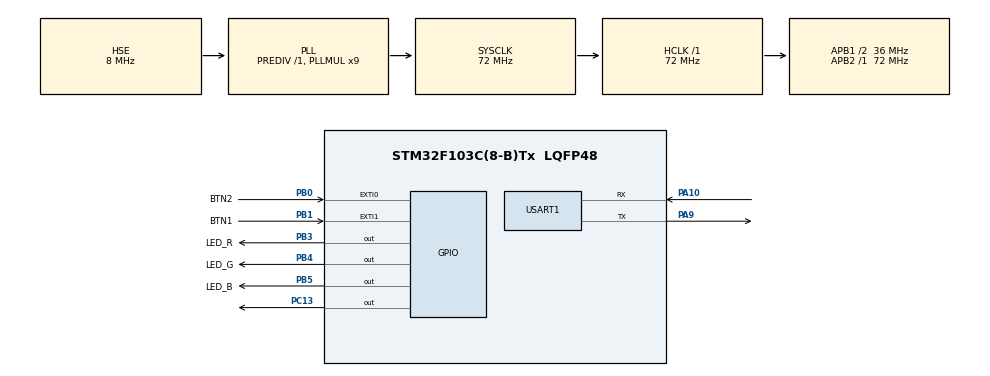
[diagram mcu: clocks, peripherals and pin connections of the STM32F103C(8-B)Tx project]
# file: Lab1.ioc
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Mcu.Family=STM32F1
Mcu.Name=STM32F103C(8-B)Tx
Mcu.Package=LQFP48
NVIC.EXTI0_IRQn=true\:1\:0\:true\:false\:true\:true\:true\:true
NVIC.EXTI1_IRQn=true\:1\:0\:true\:false\:true\:true\:true\:true
NVIC.PriorityGroup=NVIC_PRIORITYGROUP_4
NVIC.TIM3_IRQn=true\:0\:0\:true\:false\:true\:true\:true\:true
NVIC.TIM4_IRQn=true\:0\:0\:true\:false\:true\:true\:true\:true
NVIC.USART1_IRQn=true\:0\:0\:false\:false\:true\:true\:true\:true
PA10.Mode=Asynchronous
PA10.Signal=USART1_RX
PA13.Mode=Serial_Wire
PA13.Signal=SYS_JTMS-SWDIO
PA14.Mode=Serial_Wire
PA14.Signal=SYS_JTCK-SWCLK
PA9.Mode=Asynchronous
PA9.Signal=USART1_TX
PB0.GPIO_Label=BTN2
PB0.GPIO_ModeDefaultEXTI=GPIO_MODE_IT_RISING_FALLING
PB0.Signal=GPXTI0
PB1.GPIO_Label=BTN1
PB1.GPIO_ModeDefaultEXTI=GPIO_MODE_IT_RISING_FALLING
PB1.Signal=GPXTI1
PB3.GPIO_Label=LED_R
PB3.Signal=GPIO_Output
PB4.GPIO_Label=LED_G
PB4.Signal=GPIO_Output
PB5.GPIO_Label=LED_B
PB5.Signal=GPIO_Output
PC13-TAMPER-RTC.Signal=GPIO_Output
PD0-OSC_IN.Mode=HSE-External-Oscillator
PD0-OSC_IN.Signal=RCC_OSC_IN
PD1-OSC_OUT.Mode=HSE-External-Oscillator
PD1-OSC_OUT.Signal=RCC_OSC_OUT
ProjectManager.HeapSize=0x200
ProjectManager.StackSize=0x400
ProjectManager.TargetToolchain=STM32CubeIDE
RCC.AHBFreq_Value=72000000
RCC.APB1CLKDivider=RCC_HCLK_DIV2
RCC.APB1Freq_Value=36000000
RCC.APB1TimFreq_Value=72000000
RCC.APB2Freq_Value=72000000
RCC.APB2TimFreq_Value=72000000
RCC.HCLKFreq_Value=72000000
RCC.PLLMUL=RCC_PLL_MUL9
RCC.PLLSourceVirtual=RCC_PLLSOURCE_HSE
RCC.SYSCLKFreq_VALUE=72000000
RCC.SYSCLKSource=RCC_SYSCLKSOURCE_PLLCLK
RCC.USBFreq_Value=72000000
TIM3.Period=1000-1
TIM3.Prescaler=71
TIM4.Period=1000-1
TIM4.Prescaler=71
USART1.VirtualMode=VM_ASYNC
VP_TIM3_VS_ClockSourceINT.Mode=Internal
VP_TIM4_VS_ClockSourceINT.Mode=Internal
board=custom

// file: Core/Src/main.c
/* USER CODE BEGIN Header */
/**
 ******************************************************************************
 * @file           : main.c
 * @brief          : Main program body
 ******************************************************************************
 * @attention
 *
 * Copyright (c) 2023 STMicroelectronics.
 * All rights reserved.
 *
 * This software is licensed under terms that can be found in the LICENSE file
 * in the root directory of this software component.
 * If no LICENSE file comes with this software, it is provided AS-IS.
 *
 ******************************************************************************
 */
/* USER CODE END Header */
#include "main.h"

TIM_HandleTypeDef htim3;
TIM_HandleTypeDef htim4;

UART_HandleTypeDef huart1;

void SystemClock_Config(void);
static void MX_GPIO_Init(void);
static void MX_TIM3_Init(void);
static void MX_USART1_UART_Init(void);
static void MX_TIM4_Init(void);

/* USER CODE BEGIN 0 */
uint32_t cycleTime = 2000;

// Biến đếm th�?i gian giữ nút
uint32_t pressTime = 0;
uint32_t pressTimeBtn2 = 0;
uint8_t ledOrder = 0;
// Biến đếm số lần nháy LED
volatile uint32_t blinkCount = 0;
uint8_t readBtn1() {
  return HAL_GPIO_ReadPin(BTN1_GPIO_Port, BTN1_Pin);
}
uint8_t readBtn2(){
	return HAL_GPIO_ReadPin(BTN2_GPIO_Port, BTN2_Pin);
}
void HAL_TIM_PeriodElapsedCallback(TIM_HandleTypeDef *htim)
{
	if(readBtn2() == 0) {
	    pressTime++;
	    if(pressTime >= 500) {
	      // Nút nhấn trên 500ms
	      cycleTime += 100;
	    }
	  }
	if(readBtn1() == 0) {
	    pressTime++;
	    if(pressTime >= 500) {
	      cycleTime -= 100;
	    }
	  }
	  else {
	    if(pressTime > 0 && pressTime < 500) {
	      cycleTime = 100;
	    }
	    pressTime = 0;
	  }

	  if(cycleTime < 100) {
	    cycleTime = 2000;
	  }

	  // Tăng biến đếm số lần nháy
	  blinkCount++;

	  if(blinkCount < cycleTime/100) {
	    HAL_GPIO_TogglePin(LED_B_GPIO_Port, LED_R_Pin);
	  }
	  else if(blinkCount < cycleTime/50) {
	    HAL_GPIO_TogglePin(LED_G_GPIO_Port, LED_G_Pin);
	  }
	  else if(blinkCount < cycleTime/20) {
	    HAL_GPIO_TogglePin(LED_B_GPIO_Port, LED_B_Pin);
	  }
	  else {
	    blinkCount = 0;
	  }
	  __HAL_TIM_CLEAR_FLAG(&htim3, TIM_FLAG_UPDATE);
}
void HAL_GPIO_EXTI_Callback(uint16_t GPIO_Pin)
{

}
/* USER CODE END 0 */

int main(void)
{

  /* MCU Configuration--------------------------------------------------------*/

  /* Reset of all peripherals, Initializes the Flash interface and the Systick. */
  HAL_Init();

  /* Configure the system clock */
  SystemClock_Config();

  /* Initialize all configured peripherals */
  MX_GPIO_Init();
  MX_TIM3_Init();
  MX_USART1_UART_Init();
  MX_TIM4_Init();
  /* USER CODE BEGIN 2 */
 HAL_TIM_Base_Start_IT(&htim3);
 HAL_TIM_Base_Start_IT(&htim4);
  /* USER CODE END 2 */

  /* Infinite loop */
	while (1)
	{

	}
}

void SystemClock_Config(void)
{
  RCC_OscInitTypeDef RCC_OscInitStruct = {0};
  RCC_ClkInitTypeDef RCC_ClkInitStruct = {0};

  /** Initializes the RCC Oscillators according to the specified parameters
  * in the RCC_OscInitTypeDef structure.
  */
  RCC_OscInitStruct.OscillatorType = RCC_OSCILLATORTYPE_HSE;
  RCC_OscInitStruct.HSEState = RCC_HSE_ON;
  RCC_OscInitStruct.HSEPredivValue = RCC_HSE_PREDIV_DIV1;
  RCC_OscInitStruct.HSIState = RCC_HSI_ON;
  RCC_OscInitStruct.PLL.PLLState = RCC_PLL_ON;
  RCC_OscInitStruct.PLL.PLLSource = RCC_PLLSOURCE_HSE;
  RCC_OscInitStruct.PLL.PLLMUL = RCC_PLL_MUL9;
  if (HAL_RCC_OscConfig(&RCC_OscInitStruct) != HAL_OK)
  {
    Error_Handler();
  }

  /** Initializes the CPU, AHB and APB buses clocks
  */
  RCC_ClkInitStruct.ClockType = RCC_CLOCKTYPE_HCLK|RCC_CLOCKTYPE_SYSCLK
                              |RCC_CLOCKTYPE_PCLK1|RCC_CLOCKTYPE_PCLK2;
  RCC_ClkInitStruct.SYSCLKSource = RCC_SYSCLKSOURCE_PLLCLK;
  RCC_ClkInitStruct.AHBCLKDivider = RCC_SYSCLK_DIV1;
  RCC_ClkInitStruct.APB1CLKDivider = RCC_HCLK_DIV2;
  RCC_ClkInitStruct.APB2CLKDivider = RCC_HCLK_DIV1;

  if (HAL_RCC_ClockConfig(&RCC_ClkInitStruct, FLASH_LATENCY_2) != HAL_OK)
  {
    Error_Handler();
  }
}

static void MX_TIM3_Init(void)
{

  TIM_ClockConfigTypeDef sClockSourceConfig = {0};
  TIM_MasterConfigTypeDef sMasterConfig = {0};

  htim3.Instance = TIM3;
  htim3.Init.Prescaler = 71;
  htim3.Init.CounterMode = TIM_COUNTERMODE_UP;
  htim3.Init.Period = 1000-1;
  htim3.Init.ClockDivision = TIM_CLOCKDIVISION_DIV1;
  htim3.Init.AutoReloadPreload = TIM_AUTORELOAD_PRELOAD_DISABLE;
  if (HAL_TIM_Base_Init(&htim3) != HAL_OK)
  {
    Error_Handler();
  }
  sClockSourceConfig.ClockSource = TIM_CLOCKSOURCE_INTERNAL;
  if (HAL_TIM_ConfigClockSource(&htim3, &sClockSourceConfig) != HAL_OK)
  {
    Error_Handler();
  }
  sMasterConfig.MasterOutputTrigger = TIM_TRGO_RESET;
  sMasterConfig.MasterSlaveMode = TIM_MASTERSLAVEMODE_DISABLE;
  if (HAL_TIMEx_MasterConfigSynchronization(&htim3, &sMasterConfig) != HAL_OK)
  {
    Error_Handler();
  }

}

static void MX_TIM4_Init(void)
{

  TIM_ClockConfigTypeDef sClockSourceConfig = {0};
  TIM_MasterConfigTypeDef sMasterConfig = {0};

  htim4.Instance = TIM4;
  htim4.Init.Prescaler = 71;
  htim4.Init.CounterMode = TIM_COUNTERMODE_UP;
  htim4.Init.Period = 1000-1;
  htim4.Init.ClockDivision = TIM_CLOCKDIVISION_DIV1;
  htim4.Init.AutoReloadPreload = TIM_AUTORELOAD_PRELOAD_DISABLE;
  if (HAL_TIM_Base_Init(&htim4) != HAL_OK)
  {
    Error_Handler();
  }
  sClockSourceConfig.ClockSource = TIM_CLOCKSOURCE_INTERNAL;
  if (HAL_TIM_ConfigClockSource(&htim4, &sClockSourceConfig) != HAL_OK)
  {
    Error_Handler();
  }
  sMasterConfig.MasterOutputTrigger = TIM_TRGO_RESET;
  sMasterConfig.MasterSlaveMode = TIM_MASTERSLAVEMODE_DISABLE;
  if (HAL_TIMEx_MasterConfigSynchronization(&htim4, &sMasterConfig) != HAL_OK)
  {
    Error_Handler();
  }

}

static void MX_USART1_UART_Init(void)
{

  huart1.Instance = USART1;
  huart1.Init.BaudRate = 115200;
  huart1.Init.WordLength = UART_WORDLENGTH_8B;
  huart1.Init.StopBits = UART_STOPBITS_1;
  huart1.Init.Parity = UART_PARITY_NONE;
  huart1.Init.Mode = UART_MODE_TX_RX;
  huart1.Init.HwFlowCtl = UART_HWCONTROL_NONE;
  huart1.Init.OverSampling = UART_OVERSAMPLING_16;
  if (HAL_UART_Init(&huart1) != HAL_OK)
  {
    Error_Handler();
  }

}

static void MX_GPIO_Init(void)
{
  GPIO_InitTypeDef GPIO_InitStruct = {0};

  /* GPIO Ports Clock Enable */
  __HAL_RCC_GPIOC_CLK_ENABLE();
  __HAL_RCC_GPIOD_CLK_ENABLE();
  __HAL_RCC_GPIOB_CLK_ENABLE();
  __HAL_RCC_GPIOA_CLK_ENABLE();

  /*Configure GPIO pin Output Level */
  HAL_GPIO_WritePin(GPIOC, GPIO_PIN_13, GPIO_PIN_RESET);

  /*Configure GPIO pin Output Level */
  HAL_GPIO_WritePin(GPIOB, LED_R_Pin|LED_G_Pin|LED_B_Pin, GPIO_PIN_RESET);

  /*Configure GPIO pin : PC13 */
  GPIO_InitStruct.Pin = GPIO_PIN_13;
  GPIO_InitStruct.Mode = GPIO_MODE_OUTPUT_PP;
  GPIO_InitStruct.Pull = GPIO_NOPULL;
  GPIO_InitStruct.Speed = GPIO_SPEED_FREQ_LOW;
  HAL_GPIO_Init(GPIOC, &GPIO_InitStruct);

  /*Configure GPIO pins : BTN2_Pin BTN1_Pin */
  GPIO_InitStruct.Pin = BTN2_Pin|BTN1_Pin;
  GPIO_InitStruct.Mode = GPIO_MODE_INPUT;
  GPIO_InitStruct.Pull = GPIO_NOPULL;
  HAL_GPIO_Init(GPIOB, &GPIO_InitStruct);

  /*Configure GPIO pins : LED_R_Pin LED_G_Pin LED_B_Pin */
  GPIO_InitStruct.Pin = LED_R_Pin|LED_G_Pin|LED_B_Pin;
  GPIO_InitStruct.Mode = GPIO_MODE_OUTPUT_PP;
  GPIO_InitStruct.Pull = GPIO_NOPULL;
  GPIO_InitStruct.Speed = GPIO_SPEED_FREQ_LOW;
  HAL_GPIO_Init(GPIOB, &GPIO_InitStruct);

}

void Error_Handler(void)
{
	__disable_irq();
	while (1)
	{
	}
}
